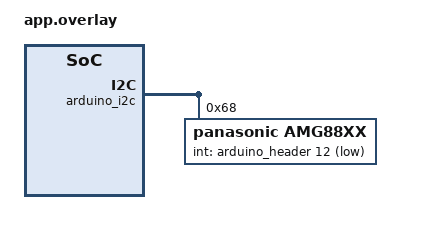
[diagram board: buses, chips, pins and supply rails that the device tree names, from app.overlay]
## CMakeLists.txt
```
# SPDX-License-Identifier: Apache-2.0

cmake_minimum_required(VERSION 3.13.1)
find_package(Zephyr REQUIRED HINTS $ENV{ZEPHYR_BASE})
project(amg88xx)

FILE(GLOB app_sources src/*.c)
target_sources(app PRIVATE ${app_sources})
```

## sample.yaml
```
sample:
  description: AMG88XX sensor sample
  name: AMG88XX sample
tests:
  sample.sensor.amg88xx:
    build_only: true
    depends_on: arduino_i2c arduino_gpio
    tags: sensors
    extra_configs:
      - CONFIG_AMG88XX_TRIGGER_GLOBAL_THREAD=y
```

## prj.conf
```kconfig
CONFIG_STDOUT_CONSOLE=y
CONFIG_SENSOR_LOG_LEVEL_INF=y
CONFIG_LOG=y
CONFIG_I2C=y
CONFIG_SENSOR=y
CONFIG_AMG88XX=y

#CONFIG_AMG88XX_TRIGGER_GLOBAL_THREAD=y
#CONFIG_AMG88XX_TRIGGER_OWN_THREAD=y
```

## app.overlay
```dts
/*
 * Copyright (c) 2019 Phytec Messtechnik GmbH
 *
 * SPDX-License-Identifier: Apache-2.0
 */

&arduino_i2c {
	status = "okay";

	amg88xx@68 {
		compatible = "panasonic,amg88xx";
		reg = <0x68>;
		label = "AMG88XX";
		/* Pin D6 from Arduino Connector */
		int-gpios = <&arduino_header 12 (GPIO_ACTIVE_LOW | GPIO_PULL_UP)>;
		status = "okay";
	};
};
```

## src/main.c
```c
/*
 * Copyright (c) 2017 PHYTEC Messtechnik GmbH
 *
 * SPDX-License-Identifier: Apache-2.0
 */

#include <zephyr.h>
#include <device.h>
#include <drivers/sensor.h>
#include <sys/printk.h>

static struct sensor_value temp_value[64];

#ifdef CONFIG_AMG88XX_TRIGGER
K_SEM_DEFINE(sem, 0, 1);

static void trigger_handler(const struct device *dev,
			    struct sensor_trigger *trigger)
{
	ARG_UNUSED(dev);
	ARG_UNUSED(trigger);

	k_sem_give(&sem);
}
#endif


void print_buffer(void *ptr, size_t l)
{
	struct sensor_value *tv = ptr;
	int ln = 0;

	printk("---|");
	for (int i = 0; i < 8; i++) {
		printk("  %02d  ", i);
	}
	printk("\n");

	printk("%03d|", ln);
	for (int i = 0; i < l; i++) {
		printk("%05d ", (tv[i].val1 * 100 + tv[i].val2 / 10000));
		if (!((i + 1) % 8)) {
			printk("\n");
			ln++;
			printk("%03d|", ln);
		}
	}
	printk("\n");
}

void main(void)
{
	int ret;
	const struct device *dev = device_get_binding(
				DT_LABEL(DT_INST(0, panasonic_amg88xx)));

	if (dev == NULL) {
		printk("Could not get AMG88XX device\n");
		return;
	}

	printk("device: %p, name: %s\n", dev, dev->name);

#ifdef CONFIG_AMG88XX_TRIGGER
	struct sensor_value attr = {
		.val1 = 27,
		.val2 = 0,
	};

	if (sensor_attr_set(dev, SENSOR_CHAN_AMBIENT_TEMP,
			    SENSOR_ATTR_UPPER_THRESH, &attr)) {
		printk("Could not set threshold\n");
		return;
	}

	struct sensor_trigger trig = {
		.type = SENSOR_TRIG_THRESHOLD,
		.chan = SENSOR_CHAN_AMBIENT_TEMP,
	};

	if (sensor_trigger_set(dev, &trig, trigger_handler)) {
		printk("Could not set trigger\n");
		return;
	}
#endif

	while (42) {
#ifdef CONFIG_AMG88XX_TRIGGER
		printk("Waiting for a threshold event\n");
		k_sem_take(&sem, K_FOREVER);
#endif

		ret = sensor_sample_fetch(dev);
		if (ret) {
			printk("Failed to fetch a sample, %d\n", ret);
			return;
		}

		ret = sensor_channel_get(dev, SENSOR_CHAN_AMBIENT_TEMP,
					 (struct sensor_value *)temp_value);
		if (ret) {
			printk("Failed to get sensor values, %d\n", ret);
			return;
		}

		printk("new sample:\n");
		print_buffer(temp_value, ARRAY_SIZE(temp_value));

		k_sleep(K_MSEC(1000));
	}
}
```
